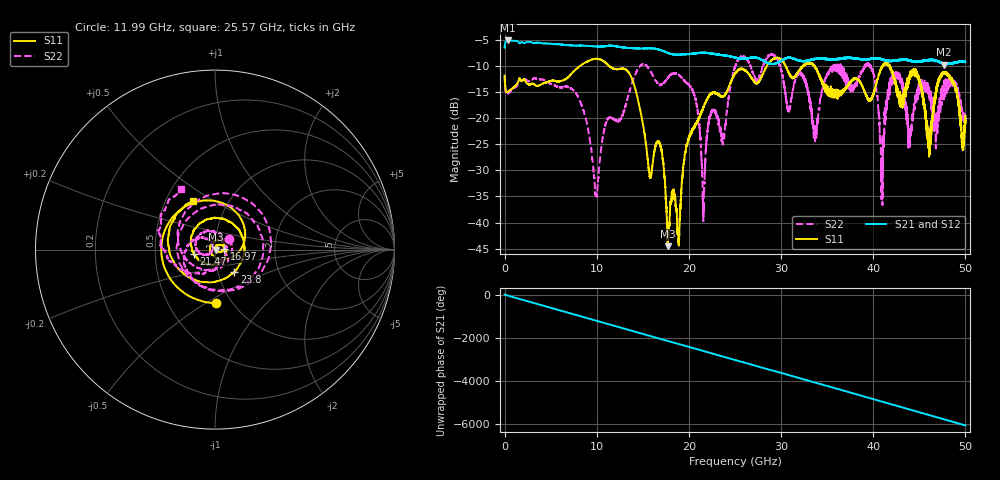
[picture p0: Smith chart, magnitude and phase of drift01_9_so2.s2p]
!Created with skrf (http://scikit-rf.org).
# Hz S RI R 50.0
!freq ReS11 ImS11 ReS21 ImS21 ReS12 ImS12 ReS22 ImS22
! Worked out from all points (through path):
!   10001 points, 300 kHz to 50 GHz, reference 50 ohm
!   highest |S21| = -5.05 dB at 365.3 MHz (marker M1); lowest = -9.7 dB at 47.67 GHz (marker M2)
!   group delay of S21, straight-line fit = 336 ps
!   lowest |S11| = -44.5 dB at 17.69 GHz (marker M3), VSWR 1.01, Z = 50.6 - j0.0605 ohm
!   |S11| at or under -10 dB: start of sweep to 8.143 GHz; 11.4 GHz to 28.45 GHz (17.05 GHz wide, 85.6 % of centre); 41.79 GHz to end of sweep (the widest 3 of 15)
!   |S22| runs from -39.7 to -7.6 dB; largest |S21 - S12| = 0.012
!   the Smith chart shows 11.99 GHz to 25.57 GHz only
!   S11 on the Smith chart (normalised r, x): 11.99 GHz: 0.85, -0.55; 16.97 GHz: 1.11, +0.01; 21.47 GHz: 0.79, -0.04; 23.8 GHz: 1.20, -0.31; 25.57 GHz: 0.69, +0.41
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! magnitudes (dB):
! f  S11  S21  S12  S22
! 300 kHz  -11.8  -6.4  -6.5  -11.8
! 365.3 MHz  -14.9  -5.1  -5.1  -15.3
! 8.335 GHz  -9.7  -6.0  -6.0  -17.5
! 9.935 GHz  -8.6  -6.2  -6.2  -34.5
! 11.99 GHz  -10.6  -6.2  -6.1  -20.2
! 15.77 GHz  -31.1  -6.6  -6.6  -10.8
! 16.67 GHz  -24.4  -6.8  -6.8  -13.4
! 16.97 GHz  -25.8  -6.9  -6.9  -13.5
! 17.69 GHz  -44.5  -7.4  -7.4  -12.3
! 20.5 GHz  -22.0  -7.5  -7.6  -15.1
! 21.47 GHz  -18.4  -7.5  -7.4  -32.0
! 22.45 GHz  -15.2  -7.6  -7.5  -18.9
! 23.8 GHz  -15.7  -7.9  -7.9  -23.6
! 25 GHz  -11.4  -8.4  -8.4  -10.2
! 25.57 GHz  -10.6  -8.5  -8.5  -8.2
! 33.34 GHz  -9.6  -8.7  -8.7  -19.7
! 39.49 GHz  -16.6  -8.6  -8.6  -9.9
! 40.94 GHz  -10.0  -8.6  -8.7  -27.8
! 41.67 GHz  -9.9  -8.9  -9.0  -15.3
! 46.06 GHz  -25.7  -8.7  -8.7  -14.9
! 47.67 GHz  -11.2  -9.7  -9.6  -14.6
! 50 GHz  -20.7  -9.2  -9.1  -20.6
